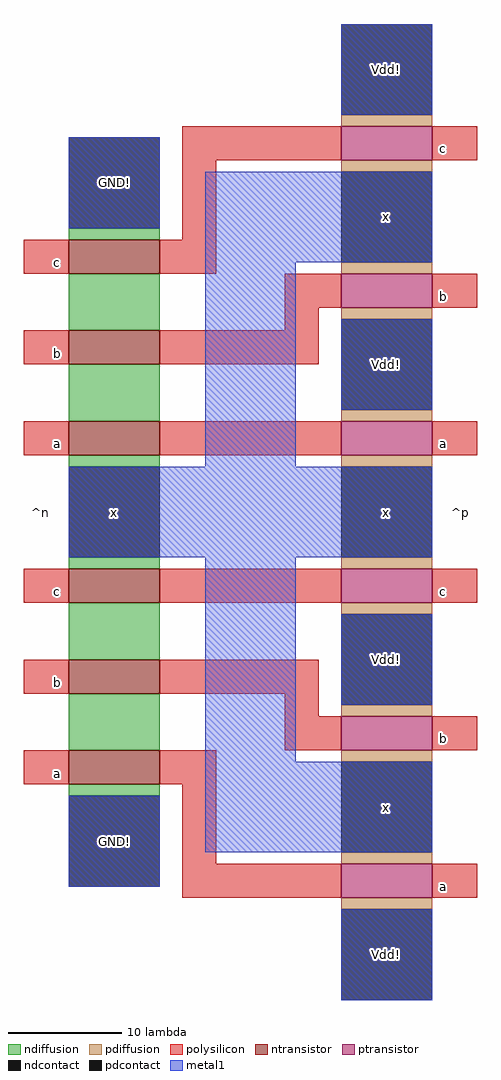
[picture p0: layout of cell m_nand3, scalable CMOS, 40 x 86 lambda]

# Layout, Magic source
magic
tech scmos
<< ndiffusion >>
rect 265 543 273 544
rect 265 535 273 540
rect 265 527 273 532
rect 265 523 273 524
rect 265 514 273 515
rect 265 506 273 511
rect 265 498 273 503
rect 265 494 273 495
<< pdiffusion >>
rect 289 553 297 554
rect 289 549 297 550
rect 289 540 297 541
rect 289 536 297 537
rect 289 527 297 528
rect 289 523 297 524
rect 289 514 297 515
rect 289 510 297 511
rect 289 501 297 502
rect 289 497 297 498
rect 289 488 297 489
rect 289 484 297 485
<< ntransistor >>
rect 265 540 273 543
rect 265 532 273 535
rect 265 524 273 527
rect 265 511 273 514
rect 265 503 273 506
rect 265 495 273 498
<< ptransistor >>
rect 289 550 297 553
rect 289 537 297 540
rect 289 524 297 527
rect 289 511 297 514
rect 289 498 297 501
rect 289 485 297 488
<< polysilicon >>
rect 275 550 289 553
rect 297 550 301 553
rect 275 543 278 550
rect 261 540 265 543
rect 273 540 278 543
rect 284 537 289 540
rect 297 537 301 540
rect 284 535 287 537
rect 261 532 265 535
rect 273 532 287 535
rect 261 524 265 527
rect 273 524 289 527
rect 297 524 301 527
rect 261 511 265 514
rect 273 511 289 514
rect 297 511 301 514
rect 261 503 265 506
rect 273 503 287 506
rect 284 501 287 503
rect 284 498 289 501
rect 297 498 301 501
rect 261 495 265 498
rect 273 495 278 498
rect 275 488 278 495
rect 275 485 289 488
rect 297 485 301 488
<< ndcontact >>
rect 265 544 273 552
rect 265 515 273 523
rect 265 486 273 494
<< pdcontact >>
rect 289 554 297 562
rect 289 541 297 549
rect 289 528 297 536
rect 289 515 297 523
rect 289 502 297 510
rect 289 489 297 497
rect 289 476 297 484
<< metal1 >>
rect 289 554 297 562
rect 265 544 273 552
rect 277 541 297 549
rect 277 523 285 541
rect 289 528 297 536
rect 265 515 297 523
rect 277 497 285 515
rect 289 502 297 510
rect 265 486 273 494
rect 277 489 297 497
rect 289 476 297 484
<< labels >>
rlabel polysilicon 264 525 264 525 3 a
rlabel polysilicon 264 533 264 533 3 b
rlabel polysilicon 264 541 264 541 3 c
rlabel metal1 269 548 269 548 5 GND!
rlabel metal1 269 519 269 519 5 x
rlabel metal1 269 490 269 490 1 GND!
rlabel polysilicon 264 512 264 512 3 c
rlabel polysilicon 264 504 264 504 3 b
rlabel polysilicon 264 496 264 496 3 a
rlabel polysilicon 298 538 298 538 1 b
rlabel polysilicon 298 525 298 525 1 a
rlabel polysilicon 298 551 298 551 1 c
rlabel polysilicon 298 499 298 499 1 b
rlabel polysilicon 298 486 298 486 1 a
rlabel polysilicon 298 512 298 512 1 c
rlabel space 260 486 265 552 7 ^n
rlabel space 297 476 302 562 3 ^p
rlabel metal1 293 480 293 480 1 Vdd!
rlabel metal1 293 506 293 506 1 Vdd!
rlabel metal1 293 532 293 532 1 Vdd!
rlabel metal1 293 558 293 558 5 Vdd!
rlabel metal1 293 545 293 545 1 x
rlabel metal1 293 519 293 519 1 x
rlabel metal1 293 493 293 493 1 x
<< end >>
